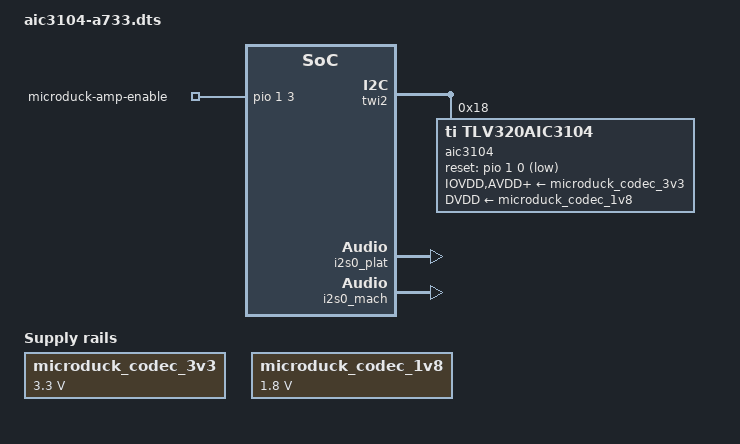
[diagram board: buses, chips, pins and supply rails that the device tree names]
/dts-v1/;
/plugin/;

/*
 * MicroDuck TLV320AIC3104 HAT on Orange Pi Zero 3W (Allwinner A733).
 *
 * Header wiring:
 *   TWI2:  PE1/PE2      I2S0: PB4..PB8
 *   RESET: PB0, active low    AMP_SD: PB3, active high
 *
 * The A733 BSP kernel does not provide simple-audio-card, so this overlay
 * reuses the vendor sunxi-snd-mach node already present in the base DTB.
 */

/ {
	compatible = "xunlong,orangepi-4-pro", "arm,sun60iw2p1";

	fragment@0 {
		target-path = "/";

		__overlay__ {
			microduck_codec_3v3: microduck-codec-3v3 {
				compatible = "regulator-fixed";
				regulator-name = "microduck-codec-3v3";
				regulator-min-microvolt = <3300000>;
				regulator-max-microvolt = <3300000>;
				regulator-always-on;
			};

			microduck_codec_1v8: microduck-codec-1v8 {
				compatible = "regulator-fixed";
				regulator-name = "microduck-codec-1v8";
				regulator-min-microvolt = <1800000>;
				regulator-max-microvolt = <1800000>;
				regulator-always-on;
			};

			/*
			 * gpio-leds gives userspace a persistent, race-free owner for
			 * AMP_SD. The mixer service enables it only after codec setup.
			 */
			microduck_amp_control {
				compatible = "gpio-leds";

				amp-enable {
					label = "microduck-amp-enable";
					gpios = <&pio 1 3 0>;
					default-state = "off";
				};
			};
		};
	};

	fragment@1 {
		target = <&twi2>;

		__overlay__ {
			#address-cells = <1>;
			#size-cells = <0>;
			status = "okay";
			twi_drv_used = <1>;

			aic3104: codec@18 {
				compatible = "ti,tlv320aic3104";
				reg = <0x18>;
				#sound-dai-cells = <0>;
				reset-gpios = <&pio 1 0 1>;
				/*
				 * MICBIAS 2.5 V. Without this the driver leaves the bias off
				 * (register 25 = 0x06) and the electret mics on J7/J8, which take
				 * their power from it through R13/R19, record nothing but DC.
				 */
				ai3x-micbias-vg = <2>;
				IOVDD-supply = <&microduck_codec_3v3>;
				DVDD-supply = <&microduck_codec_1v8>;
				AVDD-supply = <&microduck_codec_3v3>;
				DRVDD-supply = <&microduck_codec_3v3>;
				status = "okay";
			};
		};
	};

	fragment@2 {
		target = <&i2s0_plat>;

		__overlay__ {
			status = "okay";
		};
	};

	fragment@3 {
		target = <&i2s0_mach>;

		__overlay__ {
			status = "okay";
			soundcard-mach,name = "aic3104";
			soundcard-mach,format = "i2s";
			soundcard-mach,slot-num = <2>;
			soundcard-mach,slot-width = <32>;
			soundcard-mach,jack-support = <0>;
			soundcard-mach,frame-master = <&i2s0_cpu>;
			soundcard-mach,bitclock-master = <&i2s0_cpu>;
			soundcard-mach,widgets =
				"Speaker", "Speaker",
				"Microphone", "Mic 1",
				"Microphone", "Mic 2";
			soundcard-mach,routing =
				"Speaker", "LLOUT",
				"Speaker", "RLOUT",
				"MIC2L", "Mic 1",
				"MIC2R", "Mic 1",
				"Mic 1", "Mic Bias",
				"LINE1L", "Mic 2",
				"LINE1R", "Mic 2",
				"Mic 2", "Mic Bias";
		};
	};

	fragment@4 {
		target = <&i2s0_cpu>;

		__overlay__ {
			/* 22.5792 MHz for 44.1 kHz and 24.576 MHz for 48 kHz. */
			soundcard-mach,pll-fs = <1>;
			soundcard-mach,mclk-fs = <2>;
			soundcard-mach,mclk-fp = <11289600 12288000>;
		};
	};

	fragment@5 {
		target = <&i2s0_codec>;

		__overlay__ {
			sound-dai = <&aic3104>;
		};
	};
};
